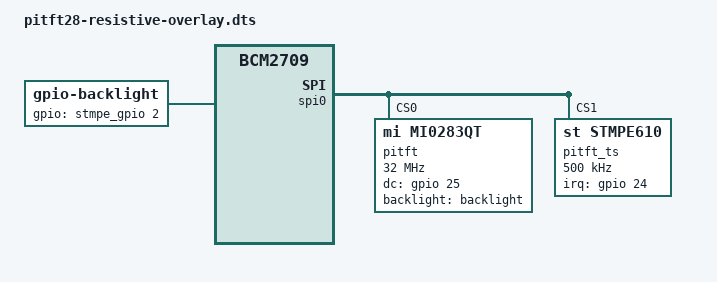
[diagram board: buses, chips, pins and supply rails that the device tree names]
/*
 * Device Tree overlay for Adafruit PiTFT 2.8" resistive touch screen
 *
 */

/dts-v1/;
/plugin/;

/ {
	compatible = "brcm,bcm2835", "brcm,bcm2708", "brcm,bcm2709";

	fragment@0 {
		target = <&spi0>;
		__overlay__ {
			status = "okay";

			spidev@0{
				status = "disabled";
			};

			spidev@1{
				status = "disabled";
			};
		};
	};

	fragment@1 {
		target = <&gpio>;
		__overlay__ {
			pitft_pins: pitft_pins {
				brcm,pins = <24 25>;
				brcm,function = <0 1>; /* in out */
				brcm,pull = <2 0>; /* pullup none */
			};
		};
	};

	fragment@2 {
		target = <&spi0>;
		__overlay__ {
			/* needed to avoid dtc warning */
			#address-cells = <1>;
			#size-cells = <0>;

			pitft: pitft@0{
				compatible = "mi,mi0283qt";
				reg = <0>;
				pinctrl-names = "default";
				pinctrl-0 = <&pitft_pins>;

				spi-max-frequency = <32000000>;
				rotation = <180>;
				dc-gpios = <&gpio 25 0>;
				backlight = <&backlight>;
			};

			pitft_ts@1 {
				#address-cells = <1>;
				#size-cells = <0>;
				compatible = "st,stmpe610";
				reg = <1>;

				spi-max-frequency = <500000>;
				irq-gpio = <&gpio 24 0x2>; /* IRQF_TRIGGER_FALLING */
				interrupts = <24 2>; /* high-to-low edge triggered */
				interrupt-parent = <&gpio>;
				interrupt-controller;

				stmpe_touchscreen {
					compatible = "st,stmpe-ts";
					st,sample-time = <4>;
					st,mod-12b = <1>;
					st,ref-sel = <0>;
					st,adc-freq = <2>;
					st,ave-ctrl = <3>;
					st,touch-det-delay = <4>;
					st,settling = <2>;
					st,fraction-z = <7>;
					st,i-drive = <0>;
				};

				stmpe_gpio: stmpe_gpio {
					#gpio-cells = <2>;
					compatible = "st,stmpe-gpio";
					/*
					 * only GPIO2 is wired/available
					 * and it is wired to the backlight
					 */
					st,norequest-mask = <0x7b>;
				};
			};
		};
	};

	fragment@3 {
		target-path = "/soc";
		__overlay__ {
			backlight: backlight {
				compatible = "gpio-backlight";
				gpios = <&stmpe_gpio 2 0>;
			};
		};
	};

	__overrides__ {
		speed =    <&pitft>,"spi-max-frequency:0";
		rotation = <&pitft>,"rotation:0";
	};
};
